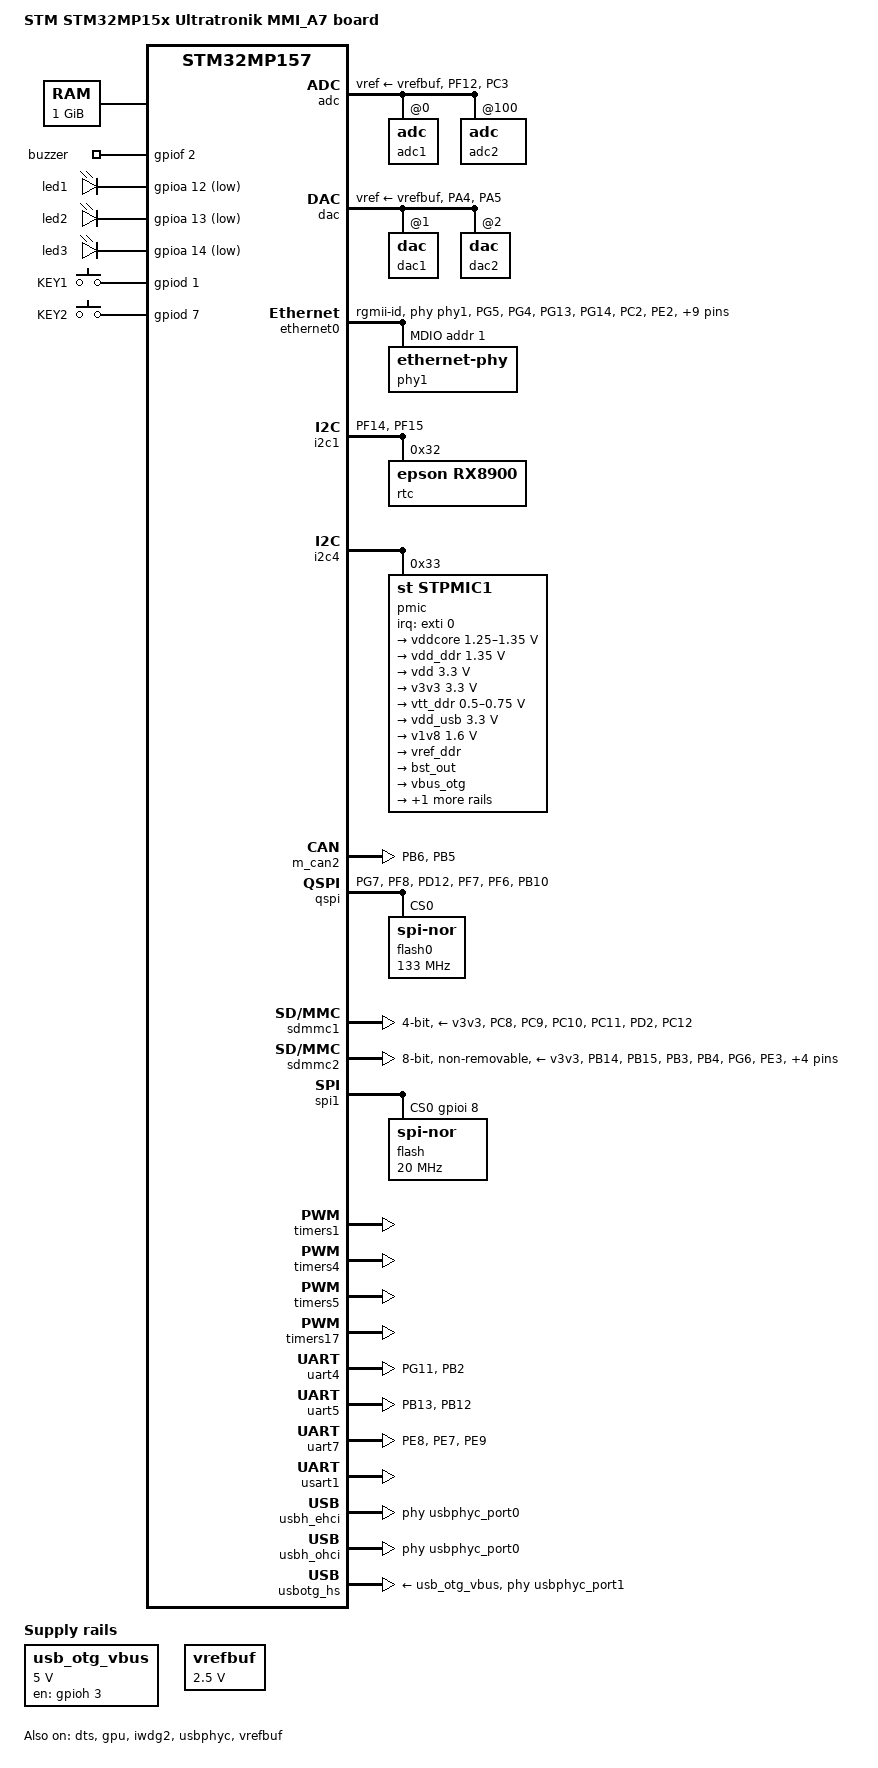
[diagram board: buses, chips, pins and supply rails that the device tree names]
// SPDX-License-Identifier: (GPL-2.0+ OR BSD-3-Clause)
/*
 * Copyright (C) Ultratronik GmbH 2024-2025 - All Rights Reserved
 */

/dts-v1/;
#include "stm32mp157.dtsi"
#include "stm32mp15xc.dtsi"
#include "stm32mp15-pinctrl.dtsi"
#include "stm32mp15xxac-pinctrl.dtsi"
#include <dt-bindings/pinctrl/stm32-pinfunc.h>
#include <dt-bindings/mfd/st,stpmic1.h>
#include <dt-bindings/gpio/gpio.h>

/ {
	model = "STM STM32MP15x Ultratronik MMI_A7 board";
	compatible = "ultratronik,stm32mp157c-ultra-fly-sbc", "st,stm32mp157";

	aliases {
		ethernet0 = &ethernet0;
		serial0 = &uart4;
		serial1 = &uart5;
		serial2 = &uart7;
		serial3 = &usart1;
	};

	chosen {
		stdout-path = "serial0:115200n8";
	};

	memory@c0000000 {
		device_type = "memory";
		reg = <0xC0000000 0x40000000>;
	};

	usb_otg_vbus: regulator-0 {
		compatible = "regulator-fixed";
		regulator-name = "usb_otg_vbus";
		regulator-min-microvolt = <5000000>;
		regulator-max-microvolt = <5000000>;
		gpio = <&gpioh 3 GPIO_ACTIVE_HIGH>;
		enable-active-high;
	};

	reserved-memory {
		#address-cells = <1>;
		#size-cells = <1>;
		ranges;

		retram: retram@38000000 {
			compatible = "shared-dma-pool";
			reg = <0x38000000 0x10000>;
			no-map;
		};

		mcuram: mcuram@30000000 {
			compatible = "shared-dma-pool";
			reg = <0x30000000 0x40000>;
			no-map;
		};

		mcuram2: mcuram2@10000000 {
			compatible = "shared-dma-pool";
			reg = <0x10000000 0x40000>;
			no-map;
		};

		vdev0vring0: vdev0vring0@10040000 {
			compatible = "shared-dma-pool";
			reg = <0x10040000 0x2000>;
			no-map;
		};

		vdev0vring1: vdev0vring1@10042000 {
			compatible = "shared-dma-pool";
			reg = <0x10042000 0x2000>;
			no-map;
		};

		vdev0buffer: vdev0buffer@10044000 {
			compatible = "shared-dma-pool";
			reg = <0x10044000 0x4000>;
			no-map;
		};

		gpu_reserved: gpu@f8000000 {
			reg = <0xf8000000 0x8000000>;
			no-map;
		};
	};

	leds: leds {
		compatible = "gpio-leds";

		led0 {
			label = "buzzer";
			gpios = <&gpiof 2 GPIO_ACTIVE_HIGH>;
			default-state = "off";
			linux,default-trigger = "none";
		};

		led1 {
			label = "led1";
			gpios = <&gpioa 12 GPIO_ACTIVE_LOW>;
			default-state = "off";
		};

		led2 {
			label = "led2";
			gpios = <&gpioa 13 GPIO_ACTIVE_LOW>;
			default-state = "off";
		};

		led3 {
			label = "led3";
			gpios = <&gpioa 14 GPIO_ACTIVE_LOW>;
			default-state = "off";
		};
	};

	gpio_keys: gpio-keys {
		compatible = "gpio-keys";

		key-1 {
			label = "KEY1";
			gpios = <&gpiod 1 GPIO_ACTIVE_HIGH>;
			wakeup-source;
			linux,code = <2>;
		};

		key-2 {
			label = "KEY2";
			gpios = <&gpiod 7 GPIO_ACTIVE_HIGH>;
			wakeup-source;
			linux,code = <3>;
		};
	};
};

&adc {
	pinctrl-names = "default";
	pinctrl-0 = <&adc1_ux_ain_pins_a>;
	vdd-supply = <&vdd>;
	vdda-supply = <&vdd>;
	vref-supply = <&vrefbuf>;
	status = "okay";

	adc1: adc@0 {
		st,min-sample-time-nsecs = <5000>;
		st,adc-channels = <0 1 6 13>; /* ANA0 ANA1 PF12 PC3 */
		status = "okay";
	};

	adc2: adc@100 {
		st,adc-channels = <0 1 12>; /* ANA0 ANA1 INT_TEMP*/
		st,min-sample-time-nsecs = <10000>;
		status = "okay";

		channel@12 {
			reg = <12>;  /* Channel 12 = internal temperature sensor */
			label = "internal_temp";
		};
	};
};

&dac {
	pinctrl-names = "default";
	pinctrl-0 = <&dac_ux_ch1_pins_a &dac_ux_ch2_pins_a>;
	vref-supply = <&vrefbuf>;
	status = "okay";

	dac1: dac@1 {
		status = "okay";
	};

	dac2: dac@2 {
		status = "okay";
	};
};

&dts {
	compatible = "st,stm32-thermal";
	status = "okay";
};

&ethernet0 {
	status = "okay";
	pinctrl-0 = <&ethernet0_ux_rgmii_pins_a>;
	pinctrl-1 = <&ethernet0_ux_rgmii_pins_sleep_a>;
	pinctrl-names = "default", "sleep";
	phy-mode = "rgmii-id";
	phy-handle = <&phy1>;

	mdio {
		#address-cells = <1>;
		#size-cells = <0>;
		compatible = "snps,dwmac-mdio";
		phy1: ethernet-phy@1 {
			reg = <1>;
		};
	};
};

&gpioa {
	gpio-line-names =
	"#PMIC_IRQ", "", "", "", "DAC1", "DAC2", "", "",
	"", "", "OTG_ID", "TIM1_4", "#LED1", "#LED2", "#LED3", "";
};

&gpiob {
	gpio-line-names =
	"", "", "", "", "", "", "", "",
	"", "", "", "", "", "", "", "";
};

&gpioc {
	gpio-line-names =
	"#AMP_SD", "", "", "ANA5", "", "", "", "",
	"", "", "", "", "", "PMIC_WAKEUP", "", "";
};

&gpiod {
	gpio-line-names =
	"#G_INT", "#TASTER1", "", "", "GPIO1", "GPIO2", "", "#TASTER2",
	"", "", "", "", "", "", "TIM4_3", "TIM4_4";
};

&gpioe {
	gpio-line-names =
	"", "", "", "", "", "", "", "",
	"", "", "PWM2", "", "", "", "", "";
};

&gpiof {
	gpio-line-names =
	"#SD1_CD", "SD1_WP", "BUZZER", "#DISP_POW", "BKL_POW", "#CAM_RES", "", "",
	"", "TIM17_1N", "", "CAM_PWDN", "ANA6", "ENA_USB", "", "";
};

&gpiog {
	gpio-line-names =
	"#ESP_RES", "#ESP_BOOT", "GPIO3", "GPIO4", "", "", "", "",
	"", "#TOUCH_IRQ", "", "", "", "", "", "#PCAP_RES";
};

&gpioh {
	gpio-line-names =
	"", "CAM_LED", "", "USB_OTG_PWR", "", "USB_OTG_OC", "", "",
	"", "", "", "", "", "", "", "";
};

&gpioi {
	gpio-line-names =
	"BKL_PWM", "", "", "", "", "", "", "",
	"#SPI_CS0", "", "", "#SPI_CS1", "", "", "", "";
};

&gpioj {
	gpio-line-names =
	"", "", "", "", "", "", "", "",
	"", "", "", "", "", "", "", "";
};

&gpiok {
	gpio-line-names =
	"", "", "", "", "", "", "", "",
	"", "", "", "", "", "", "", "";
};

&gpioz {
	gpio-line-names =
	"", "", "", "#SPI_CS2", "", "", "", "",
	"", "", "", "", "", "", "", "";
};

&gpu {
	status = "okay";
};

&i2c1 {
	pinctrl-names = "default", "sleep";
	pinctrl-0 = <&i2c1_ux_pins_a>;
	pinctrl-1 = <&i2c1_ux_pins_sleep_a>;
	i2c-scl-rising-time-ns = <100>;
	i2c-scl-falling-time-ns = <7>;
	status = "okay";
	/delete-property/dmas;
	/delete-property/dma-names;

	rtc@32 {
		compatible = "epson,rx8900";
		reg = <0x32>;
		epson,vdet-disable;
		trickle-diode-disable;
	};
};

&i2c4 {
	pinctrl-names = "default", "sleep";
	pinctrl-0 = <&i2c4_ux_pins_a>;
	pinctrl-1 = <&i2c4_ux_pins_sleep_a>;
	i2c-scl-rising-time-ns = <185>;
	i2c-scl-falling-time-ns = <20>;
	status = "okay";
	/delete-property/dmas;
	/delete-property/dma-names;

	pmic: pmic@33 {
		compatible = "st,stpmic1";
		reg = <0x33>;
		interrupts-extended = <&exti 0 IRQ_TYPE_EDGE_FALLING>;
		interrupt-controller;
		#interrupt-cells = <2>;

		regulators {
			compatible = "st,stpmic1-regulators";

			ldo1-supply = <&v3v3>;
			ldo3-supply = <&vdd_ddr>;
			ldo6-supply = <&v3v3>;
			pwr_sw1-supply = <&bst_out>;
			pwr_sw2-supply = <&bst_out>;

			vddcore: buck1 {
				regulator-name = "vddcore";
				regulator-min-microvolt = <1250000>;
				regulator-max-microvolt = <1350000>;
				regulator-always-on;
				regulator-initial-mode = <0>;
				regulator-over-current-protection;
			};

			vdd_ddr: buck2 {
				regulator-name = "vdd_ddr";
				regulator-min-microvolt = <1350000>;
				regulator-max-microvolt = <1350000>;
				regulator-always-on;
				regulator-initial-mode = <0>;
				regulator-over-current-protection;
			};

			vdd: buck3 {
				regulator-name = "vdd";
				regulator-min-microvolt = <3300000>;
				regulator-max-microvolt = <3300000>;
				regulator-always-on;
				st,mask-reset;
				regulator-initial-mode = <0>;
				regulator-over-current-protection;
			};

			v3v3: buck4 {
				regulator-name = "v3v3";
				regulator-min-microvolt = <3300000>;
				regulator-max-microvolt = <3300000>;
				regulator-always-on;
				regulator-over-current-protection;
				regulator-initial-mode = <0>;
			};

			vtt_ddr: ldo3 {
				regulator-name = "vtt_ddr";
				regulator-min-microvolt = <500000>;
				regulator-max-microvolt = <750000>;
				regulator-always-on;
				regulator-over-current-protection;
			};

			vdd_usb: ldo4 {
				regulator-name = "vdd_usb";
				regulator-min-microvolt = <3300000>;
				regulator-max-microvolt = <3300000>;
				regulator-always-on;
				interrupts = <IT_CURLIM_LDO4 0>;
			};

			v1v8: ldo6 {
				regulator-name = "v1v8";
				regulator-min-microvolt = <1600000>;/* offset +200 mv ??? */
				regulator-max-microvolt = <1600000>;/* real 1800000 */
				regulator-always-on;
				interrupts = <IT_CURLIM_LDO6 0>;
			};

			vref_ddr: vref_ddr {
				regulator-name = "vref_ddr";
				regulator-always-on;
			};

			bst_out: boost {
				regulator-name = "bst_out";
				interrupts = <IT_OCP_BOOST 0>;
			};

			vbus_otg: pwr_sw1 {
				regulator-name = "vbus_otg";
				interrupts = <IT_OCP_OTG 0>;
				regulator-active-discharge = <1>;
			 };

			 vbus_sw: pwr_sw2 {
				regulator-name = "vbus_sw";
				interrupts = <IT_OCP_SWOUT 0>;
				regulator-active-discharge = <1>;
			 };
		};
	};
};

&iwdg2 {
	timeout-sec = <32>;
	status = "okay";
};

&m_can2 {
	pinctrl-names = "default", "sleep";
	pinctrl-0 = <&m_can2_ux_pins_a>;
	pinctrl-1 = <&m_can2_ux_sleep_pins_a>;
	status = "okay";
};

&pinctrl {

	adc1_ux_ain_pins_a: adc1-ux-ain-0 {
		pins {
			pinmux = <STM32_PINMUX('F',12, ANALOG)>, /* ADC1 in6 */
				 <STM32_PINMUX('C', 3, ANALOG)>; /* ADC2 in13 */
		};
	};

	dac_ux_ch1_pins_a: dac-ux-ch1-0 {
		pins {
			pinmux = <STM32_PINMUX('A', 4, ANALOG)>;
		};
	};

	dac_ux_ch2_pins_a: dac-ux-ch2-0 {
		pins {
			pinmux = <STM32_PINMUX('A', 5, ANALOG)>;
		};
	};

	ethernet0_ux_rgmii_pins_a: rgmii-ux-0 {
		pins1 {
			pinmux = <STM32_PINMUX('G', 5, AF11)>, /* ETH_RGMII_CLK125 */
				 <STM32_PINMUX('G', 4, AF11)>, /* ETH_RGMII_GTX_CLK */
				 <STM32_PINMUX('G', 13, AF11)>, /* ETH_RGMII_TXD0 */
				 <STM32_PINMUX('G', 14, AF11)>, /* ETH_RGMII_TXD1 */
				 <STM32_PINMUX('C', 2, AF11)>, /* ETH_RGMII_TXD2 */
				 <STM32_PINMUX('E', 2, AF11)>, /* ETH_RGMII_TXD3 */
				 <STM32_PINMUX('B', 11, AF11)>; /* ETH_RGMII_TX_CTL */
			bias-disable;
			drive-push-pull;
			slew-rate = <2>;
		};
		pins2 {
			pinmux = <STM32_PINMUX('C', 4, AF11)>, /* ETH_RGMII_RXD0 */
				 <STM32_PINMUX('C', 5, AF11)>, /* ETH_RGMII_RXD1 */
				 <STM32_PINMUX('B', 0, AF11)>, /* ETH_RGMII_RXD2 */
				 <STM32_PINMUX('H', 7, AF11)>, /* ETH_RGMII_RXD3 */
				 <STM32_PINMUX('A', 1, AF11)>, /* ETH_RGMII_RX_CLK */
				 <STM32_PINMUX('A', 7, AF11)>; /* ETH_RGMII_RX_CTL */
			bias-disable;
		};
		pins3 {
			pinmux = <STM32_PINMUX('C', 1, AF11)>; /* ETH_MDC */
			bias-disable;
			drive-push-pull;
			slew-rate = <0>;
		};
		pins4 {
			pinmux = <STM32_PINMUX('A', 2, AF11)>; /* ETH_MDIO */
			bias-disable;
			drive-open-drain;
			slew-rate = <0>;
		};
	};

	ethernet0_ux_rgmii_pins_sleep_a: rgmii-ux-sleep-0 {
		pins1 {
			pinmux = <STM32_PINMUX('G', 5, ANALOG)>, /* ETH_RGMII_CLK125 */
				 <STM32_PINMUX('G', 4, ANALOG)>, /* ETH_RGMII_GTX_CLK */
				 <STM32_PINMUX('G', 13, ANALOG)>, /* ETH_RGMII_TXD0 */
				 <STM32_PINMUX('G', 14, ANALOG)>, /* ETH_RGMII_TXD1 */
				 <STM32_PINMUX('C', 2, ANALOG)>, /* ETH_RGMII_TXD2 */
				 <STM32_PINMUX('E', 2, ANALOG)>, /* ETH_RGMII_TXD3 */
				 <STM32_PINMUX('B', 11, ANALOG)>, /* ETH_RGMII_TX_CTL */
				 <STM32_PINMUX('A', 2, ANALOG)>, /* ETH_MDIO */
				 <STM32_PINMUX('C', 1, ANALOG)>, /* ETH_MDC */
				 <STM32_PINMUX('C', 4, ANALOG)>, /* ETH_RGMII_RXD0 */
				 <STM32_PINMUX('C', 5, ANALOG)>, /* ETH_RGMII_RXD1 */
				 <STM32_PINMUX('B', 0, ANALOG)>, /* ETH_RGMII_RXD2 */
				 <STM32_PINMUX('B', 1, ANALOG)>, /* ETH_RGMII_RXD3 */
				 <STM32_PINMUX('A', 1, ANALOG)>, /* ETH_RGMII_RX_CLK */
				 <STM32_PINMUX('A', 7, ANALOG)>; /* ETH_RGMII_RX_CTL */
		};
	};

	i2c1_ux_pins_a: i2c1-0 {
		pins {
			pinmux = <STM32_PINMUX('F', 14, AF5)>, /* I2C1_SCL */
				 <STM32_PINMUX('F', 15, AF5)>; /* I2C1_SDA */
			bias-disable;
			drive-open-drain;
			slew-rate = <0>;
		};
	};

	i2c1_ux_pins_sleep_a: i2c1-1 {
		pins {
			pinmux = <STM32_PINMUX('F', 14, ANALOG)>, /* I2C1_SCL */
				 <STM32_PINMUX('F', 15, ANALOG)>; /* I2C1_SDA */
		};
	};

	m_can2_ux_pins_a: m-can2-ux-0 {
		pins1 {
			pinmux = <STM32_PINMUX('B', 6, AF9)>; /* CAN1_TX */
			slew-rate = <0>;
			drive-push-pull;
			bias-disable;
		};

		pins2 {
			pinmux = <STM32_PINMUX('B', 5, AF9)>; /* CAN1_RX */
			bias-disable;
		};
	};

	m_can2_ux_sleep_pins_a: m-can2-ux-sleep-0 {
		pins {
			pinmux = <STM32_PINMUX('B', 6, ANALOG)>, /* CAN1_TX */
				 <STM32_PINMUX('B', 5, ANALOG)>; /* CAN1_RX */
		};
	};
	pwm1_ux_pins_a: pwm1-0 {
		pins {
			pinmux = <STM32_PINMUX('A',11, AF1)>, /* TIM1_CH4 */
				 <STM32_PINMUX('E',10, AF1)>; /* TIM1_CH2N */
			bias-pull-down;
			drive-push-pull;
			slew-rate = <0>;
		};
	};

	pwm1_ux_sleep_pins_a: pwm1-sleep-0 {
		pins {
			pinmux = <STM32_PINMUX('A',11, ANALOG)>, /* TIM1_CH4 */
				 <STM32_PINMUX('E',10, ANALOG)>; /* TIM1_CH2N */
		};
	};

	pwm4_ux_pins_a: pwm4-0 {
		pins {
			pinmux = <STM32_PINMUX('D', 14, AF2)>, /* TIM4_CH3 */
				 <STM32_PINMUX('D', 15, AF2)>; /* TIM4_CH4 */
			bias-disable;
		};
	};

	pwm4_ux_sleep_pins_a: pwm4-sleep-0 {
		pins {
			pinmux = <STM32_PINMUX('D', 14, ANALOG)>, /* TIM4_CH3 */
				 <STM32_PINMUX('D', 15, ANALOG)>; /* TIM4_CH4 */
		};
	};

	pwm5_ux_pins_a: pwm5-0 {
		pins {
			pinmux = <STM32_PINMUX('I', 0, AF2)>; /* TIM5_CH4 */
			bias-pull-down;
			drive-push-pull;
			slew-rate = <0>;
		};
	};

	pwm5_ux_sleep_pins_a: pwm5-sleep-0 {
		pins {
			pinmux = <STM32_PINMUX('I', 0, ANALOG)>; /* TIM5_CH4 */
		};
	};

	pwm17_ux_pins_a: pwm17-0 {
		pins {
			pinmux = <STM32_PINMUX('F', 9, AF1)>; /* TIM17_CH1N */
			bias-pull-down;
			drive-push-pull;
			slew-rate = <0>;
		};
	};

	pwm17_ux_sleep_pins_a: pwm17-sleep-0 {
		pins {
			pinmux = <STM32_PINMUX('F', 9, ANALOG)>; /* TIM17_CH1N */
		};
	};

	qspi_bk1_ux_pins_a: qspi-bk1-ux-0 {
		pins1 {
			pinmux = <STM32_PINMUX('F', 8, AF10)>, /* QSPI_BK1_IO0 */
				 <STM32_PINMUX('D',12, AF9)>, /* QSPI_BK1_IO1 */
				 <STM32_PINMUX('F', 7, AF9)>, /* QSPI_BK1_IO2 */
				 <STM32_PINMUX('F', 6, AF9)>; /* QSPI_BK1_IO3 */
			bias-disable;
			drive-push-pull;
			slew-rate = <1>;
		};

		pins2 {
			pinmux = <STM32_PINMUX('B',10, AF9)>; /* QSPI_BK1_NCS */
			bias-pull-up;
			drive-push-pull;
			slew-rate = <1>;
		};
	};

	qspi_bk1_ux_sleep_pins_a: qspi-bk1-ux-sleep-0 {
		pins {
			pinmux = <STM32_PINMUX('F', 8, ANALOG)>, /* QSPI_BK1_IO0 */
				 <STM32_PINMUX('D',12, ANALOG)>, /* QSPI_BK1_IO1 */
				 <STM32_PINMUX('F', 7, ANALOG)>, /* QSPI_BK1_IO2 */
				 <STM32_PINMUX('F', 6, ANALOG)>, /* QSPI_BK1_IO3 */
				 <STM32_PINMUX('B',10, ANALOG)>; /* QSPI_BK1_NCS */
		};
	};

	qspi_clk_ux_pins_a: qspi-clk_ux-0 {
		pins {
			pinmux = <STM32_PINMUX('G', 7, AF9)>; /* QSPI_CLK */
			bias-disable;
			drive-push-pull;
			slew-rate = <3>;
		};
	};

	qspi_clk_ux_sleep_pins_a: qspi-clk-ux-sleep-0 {
		pins {
			pinmux = <STM32_PINMUX('G', 7, ANALOG)>; /* QSPI_CLK */
		};
	};

	sai2a_ux_pins_a: sai2a-0 {
		pins {
			pinmux = <STM32_PINMUX('I', 5, AF10)>, /* SAI2_SCK_A */
				 <STM32_PINMUX('D',11, AF10)>, /* SAI2_SD_A */
				 <STM32_PINMUX('I', 7, AF10)>, /* SAI2_FS_A */
				 <STM32_PINMUX('E', 0, AF10)>; /* SAI2_MCLK_A */
			slew-rate = <0>;
			drive-push-pull;
			bias-disable;
		};
	};

	sai2a_ux_sleep_pins_a: sai2a-1 {
		pins {
			pinmux = <STM32_PINMUX('I', 5, ANALOG)>, /* SAI2_SCK_A */
				 <STM32_PINMUX('D',11, ANALOG)>, /* SAI2_SD_A */
				 <STM32_PINMUX('I', 7, ANALOG)>, /* SAI2_FS_A */
				 <STM32_PINMUX('E', 0, ANALOG)>; /* SAI2_MCLK_A */
		};
	};

	sdmmc1_ux_b4_pins_a: sdmmc1-ux-b4-0 {
		pins1 {
			pinmux = <STM32_PINMUX('C', 8, AF12)>, /* SDMMC1_D0 */
				 <STM32_PINMUX('C', 9, AF12)>, /* SDMMC1_D1 */
				 <STM32_PINMUX('C',10, AF12)>, /* SDMMC1_D2 */
				 <STM32_PINMUX('C',11, AF12)>, /* SDMMC1_D3 */
				 <STM32_PINMUX('D', 2, AF12)>; /* SDMMC1_CMD */
			slew-rate = <1>;
			drive-push-pull;
			bias-disable;
		};
		pins2 {
			pinmux = <STM32_PINMUX('C', 12, AF12)>; /* SDMMC1_CK */
			slew-rate = <2>;
			drive-push-pull;
			bias-disable;
		};
	};

	sdmmc1_ux_b4_od_pins_a: sdmmc1-b4-od-0 {
		pins1 {
			pinmux = <STM32_PINMUX('C', 8, AF12)>, /* SDMMC1_D0 */
				 <STM32_PINMUX('C', 9, AF12)>, /* SDMMC1_D1 */
				 <STM32_PINMUX('C', 10, AF12)>, /* SDMMC1_D2 */
				 <STM32_PINMUX('C', 11, AF12)>; /* SDMMC1_D3 */
			slew-rate = <1>;
			drive-push-pull;
			bias-disable;
		};
		pins2 {
			pinmux = <STM32_PINMUX('C', 12, AF12)>; /* SDMMC1_CK */
			slew-rate = <2>;
			drive-push-pull;
			bias-disable;
		};
		pins3 {
			pinmux = <STM32_PINMUX('D', 2, AF12)>; /* SDMMC1_CMD */
			slew-rate = <1>;
			drive-open-drain;
			bias-disable;
		};
	};

	sdmmc1_ux_b4_sleep_pins_a: sdmmc1-b4-sleep-0 {
		pins {
			pinmux = <STM32_PINMUX('C', 8, ANALOG)>, /* SDMMC1_D0 */
				 <STM32_PINMUX('C', 9, ANALOG)>, /* SDMMC1_D1 */
				 <STM32_PINMUX('C', 10, ANALOG)>, /* SDMMC1_D2 */
				 <STM32_PINMUX('C', 11, ANALOG)>, /* SDMMC1_D3 */
				 <STM32_PINMUX('C', 12, ANALOG)>, /* SDMMC1_CK */
				 <STM32_PINMUX('D', 2, ANALOG)>; /* SDMMC1_CMD */
		};
	};

	sdmmc2_ux_b4_pins_a: sdmmc2-ux-b4-0 {
		pins1 {
			pinmux = <STM32_PINMUX('B', 14, AF9)>, /* SDMMC2_D0 */
				<STM32_PINMUX('B', 15, AF9)>, /* SDMMC2_D1 */
				<STM32_PINMUX('B', 3, AF9)>, /* SDMMC2_D2 */
				<STM32_PINMUX('B', 4, AF9)>, /* SDMMC2_D3 */
				<STM32_PINMUX('G', 6, AF10)>; /* SDMMC2_CMD */
			slew-rate = <1>;
			drive-push-pull;
			bias-pull-up;
		};
		pins2 {
			pinmux = <STM32_PINMUX('E', 3, AF9)>; /* SDMMC2_CK */
			slew-rate = <2>;
			drive-push-pull;
			bias-pull-up;
		};
	};

	sdmmc2_ux_b4_od_pins_a: sdmmc2-ux-b4-od-0 {
		pins1 {
			pinmux = <STM32_PINMUX('B', 14, AF9)>, /* SDMMC2_D0 */
				<STM32_PINMUX('B', 15, AF9)>, /* SDMMC2_D1 */
				<STM32_PINMUX('B', 3, AF9)>, /* SDMMC2_D2 */
				<STM32_PINMUX('B', 4, AF9)>; /* SDMMC2_D3 */
			slew-rate = <1>;
			drive-push-pull;
			bias-pull-up;
		};
		pins2 {
			pinmux = <STM32_PINMUX('E', 3, AF9)>; /* SDMMC2_CK */
			slew-rate = <2>;
			drive-push-pull;
			bias-pull-up;
		};
		pins3 {
			pinmux = <STM32_PINMUX('G', 6, AF10)>; /* SDMMC2_CMD */
			slew-rate = <1>;
			drive-open-drain;
			bias-pull-up;
		};
	};

	sdmmc2_ux_b4_sleep_pins_a: sdmmc2-ux-b4-sleep-0 {
		pins {
			pinmux = <STM32_PINMUX('B', 14, ANALOG)>, /* SDMMC2_D0 */
				<STM32_PINMUX('B', 15, ANALOG)>, /* SDMMC2_D1 */
				<STM32_PINMUX('B', 3, ANALOG)>, /* SDMMC2_D2 */
				<STM32_PINMUX('B', 4, ANALOG)>, /* SDMMC2_D3 */
				<STM32_PINMUX('E', 3, ANALOG)>, /* SDMMC2_CK */
				<STM32_PINMUX('G', 6, ANALOG)>; /* SDMMC2_CMD */
		};
	};

	sdmmc2_ux_d47_pins_a: sdmmc2-ux-d47-0 {
		pins {
			pinmux = <STM32_PINMUX('A', 8, AF9)>, /* SDMMC2_D4 */
				<STM32_PINMUX('A', 9, AF10)>, /* SDMMC2_D5 */
				<STM32_PINMUX('E', 5, AF9)>, /* SDMMC2_D6 */
				<STM32_PINMUX('D', 3, AF9)>; /* SDMMC2_D7 */
			slew-rate = <1>;
			drive-push-pull;
			bias-pull-up;
		};
	};

	sdmmc2_ux_d47_sleep_pins_a: sdmmc2-ux-d47-sleep-0 {
		pins {
			pinmux = <STM32_PINMUX('A', 8, ANALOG)>, /* SDMMC2_D4 */
				<STM32_PINMUX('A', 9, ANALOG)>, /* SDMMC2_D5 */
				<STM32_PINMUX('E', 5, ANALOG)>, /* SDMMC2_D6 */
				<STM32_PINMUX('D', 3, ANALOG)>; /* SDMMC2_D7 */
		};
	};

	uart4_ux_pins_a: uart4-ux-0 {
		pins1 {
			pinmux = <STM32_PINMUX('G', 11, AF6)>; /* UART4_TX */
			bias-disable;
			drive-push-pull;
			slew-rate = <0>;
		};
		pins2 {
			pinmux = <STM32_PINMUX('B', 2, AF8)>; /* UART4_RX */
			bias-disable;
		};
	};

	uart4_ux_idle_pins_a: uart4-ux-idle-0 {
		pins1 {
			pinmux = <STM32_PINMUX('G', 11, ANALOG)>; /* UART4_TX */
		};
		pins2 {
			pinmux = <STM32_PINMUX('B', 2, AF8)>; /* UART4_RX */
			bias-disable;
		};
		};

	uart4_ux_sleep_pins_a: uart4-ux-sleep-0 {
		pins {
			pinmux = <STM32_PINMUX('G', 11, ANALOG)>, /* UART4_TX */
				<STM32_PINMUX('B', 2, ANALOG)>; /* UART4_RX */
		};
	};

	uart5_ux_pins_a: uart5-0 {
		pins1 {
			pinmux = <STM32_PINMUX('B', 13, AF14)>; /* UART5_TX */
			bias-disable;
			drive-push-pull;
			slew-rate = <0>;
		};
		pins2 {
			pinmux = <STM32_PINMUX('B', 12, AF14)>; /* UART5_RX */
			bias-disable;
		};
	};

	uart5_ux_idle_pins_a: uart5-idle-0 {
		pins1 {
			pinmux = <STM32_PINMUX('B', 13, ANALOG)>; /* UART5_TX */
		};
		pins2 {
			pinmux = <STM32_PINMUX('B', 12, AF14)>; /* UART5_RX*/
			bias-disable;
		};
	};

	uart5_ux_sleep_pins_a: uart5-sleep-0 {
		pins {
			pinmux = <STM32_PINMUX('B', 13, ANALOG)>, /* UART5_TX */
				 <STM32_PINMUX('B', 12, ANALOG)>; /* UART5_RX */
		};
	};

	uart7_ux_pins_a: uart7-0 {
		pins1 {
			pinmux = <STM32_PINMUX('E', 8, AF7)>; /* USART7_TX */
			bias-pull-up;
			drive-push-pull;
			slew-rate = <0>;
		};

		pins2 {
			pinmux = <STM32_PINMUX('E', 7, AF7)>; /* USART7_RX */
			bias-pull-up;
		};
		pins3 {
			pinmux = <STM32_PINMUX('E', 9, AF7)>; /* USART7_RTS/DE */
		};
	};

	uart7_ux_idle_pins_a: uart7-idle-0 {
		pins1 {
			pinmux = <STM32_PINMUX('E', 8, ANALOG)>, /* USART7_TX */
				 <STM32_PINMUX('E', 9, AF7)>; /* USART7_RTS/DE */
		};
		pins2 {
			pinmux = <STM32_PINMUX('E', 7, AF7)>; /* USART7_RX */
			bias-disable;
		};
	};

	uart7_ux_sleep_pins_a: uart7-sleep-0 {
		pins {
			pinmux = <STM32_PINMUX('E', 8, ANALOG)>, /* USART7_TX */
				 <STM32_PINMUX('E', 9, AF7)>, /* USART7_RTS/DE */
				 <STM32_PINMUX('E', 7, ANALOG)>; /* USART7_RX */
		};
	};
};

&pinctrl_z {

	i2c4_ux_pins_a: i2c4-ux-0 {
		pins {
			pinmux = <STM32_PINMUX('Z', 4, AF6)>, /* I2C4_SCL */
				<STM32_PINMUX('Z', 5, AF6)>; /* I2C4_SDA */
			bias-disable;
			drive-open-drain;
			slew-rate = <0>;
		};
	};

	i2c4_ux_pins_sleep_a: i2c4-1 {
		pins {
			pinmux = <STM32_PINMUX('Z', 4, ANALOG)>, /* I2C4_SCL */
				<STM32_PINMUX('Z', 5, ANALOG)>; /* I2C4_SDA */
		};
	};

	spi1_ux_pins_a: spi1-ux-0 {
		pins1 {
			pinmux = <STM32_PINMUX('Z', 0, AF5)>, /* SPI1_SCK */
				<STM32_PINMUX('Z', 2, AF5)>; /* SPI1_MOSI */
			bias-disable;
			drive-push-pull;
			slew-rate = <1>;
		};

		pins2 {
			pinmux = <STM32_PINMUX('Z', 1, AF5)>; /* SPI1_MISO */
			bias-disable;
		};
	};

	spi1_ux_sleep_pins_a: spi1-ux-sleep-0 {
		pins {
			pinmux = <STM32_PINMUX('Z', 0, ANALOG)>, /* SPI1_SCK */
				<STM32_PINMUX('Z', 1, ANALOG)>, /* SPI1_MISO */
				<STM32_PINMUX('Z', 2, ANALOG)>; /* SPI1_MOSI */
		};
	};
};

&pwr_regulators {
	vdd-supply = <&vdd>;
	vdd_3v3_usbfs-supply = <&vdd_usb>;
};

&qspi {
	pinctrl-names = "default", "sleep";
	pinctrl-0 = <&qspi_clk_ux_pins_a &qspi_bk1_ux_pins_a>;
	pinctrl-1 = <&qspi_clk_ux_sleep_pins_a &qspi_bk1_ux_sleep_pins_a>;
	reg = <0x58003000 0x1000>, <0x70000000 0x1000000>;
	#address-cells = <1>;
	#size-cells = <0>;
	status = "okay";

	flash0: flash@0 {
		compatible = "jedec,spi-nor";
		reg = <0>;
		spi-rx-bus-width = <4>;
		spi-max-frequency = <133000000>;
		#address-cells = <1>;
		#size-cells = <1>;
	};
};

&sdmmc1 {
	pinctrl-names = "default", "opendrain", "sleep";
	pinctrl-0 = <&sdmmc1_ux_b4_pins_a>;
	pinctrl-1 = <&sdmmc1_ux_b4_od_pins_a>;
	pinctrl-2 = <&sdmmc1_ux_b4_sleep_pins_a>;
	broken-cd;
	st,neg-edge;
	bus-width = <4>;
	vmmc-supply = <&v3v3>;
	no-1-8-v;
	status = "okay";
};

&sdmmc2 {
	pinctrl-names = "default", "opendrain", "sleep";
	pinctrl-0 = <&sdmmc2_ux_b4_pins_a &sdmmc2_ux_d47_pins_a>;
	pinctrl-1 = <&sdmmc2_ux_b4_od_pins_a &sdmmc2_ux_d47_pins_a>;
	pinctrl-2 = <&sdmmc2_ux_b4_sleep_pins_a &sdmmc2_ux_d47_sleep_pins_a>;
	non-removable;
	no-sd;
	no-sdio;
	st,neg-edge;
	bus-width = <8>;
	vmmc-supply = <&v3v3>;
	vqmmc-supply = <&v3v3>;
	mmc-ddr-3_3v;
	status = "okay";
};

&spi1 {
	pinctrl-names = "default", "sleep";
	pinctrl-0 = <&spi1_ux_pins_a>;
	pinctrl-1 = <&spi1_ux_sleep_pins_a>;
	status = "okay";
	cs-gpios = <&gpioi 8 0>, <&gpioi 11 0>, <&gpioz 3 0>;

	flash: flash@0 {
		#address-cells = <1>;
		#size-cells = <1>;
		compatible = "jedec,spi-nor";
		spi-max-frequency = <20000000>;
		reg = <0>;
	};
};

&timers1 {
	/* spare dmas for other usage */
	/delete-property/dmas;
	/delete-property/dma-names;
	status = "okay";

	pwm {
		pinctrl-0 = <&pwm1_ux_pins_a>;
		pinctrl-1 = <&pwm1_ux_sleep_pins_a>;
		pinctrl-names = "default", "sleep";
		status = "okay";
	};

	timer@0 {
		status = "okay";
	};
};

&timers4 {
	dmas = <&dmamux1 31 0x400 0x5>;
	dma-names = "ch3";
	status = "okay";

	pwm4_4: pwm {
		pinctrl-0 = <&pwm4_ux_pins_a>;
		pinctrl-1 = <&pwm4_ux_sleep_pins_a>;
		pinctrl-names = "default", "sleep";
		status = "okay";
	};
};

&timers5 {
	/delete-property/dmas;
	/delete-property/dma-names;
	status = "okay";

	pwm5_4: pwm {
		pinctrl-0 = <&pwm5_ux_pins_a>;
		pinctrl-1 = <&pwm5_ux_sleep_pins_a>;
		pinctrl-names = "default", "sleep";
		status = "okay";
	};

	timer@4 {
		status = "okay";
	};
};

&timers17 {
	/delete-property/dmas;
	/delete-property/dma-names;
	status = "okay";

	pwm17_4: pwm {
		pinctrl-0 = <&pwm17_ux_pins_a>;
		pinctrl-1 = <&pwm17_ux_sleep_pins_a>;
		pinctrl-names = "default", "sleep";
		status = "okay";
	};

	timer@16 {
		status = "okay";
	};
};

&uart4 {
	/delete-property/dmas;
	/delete-property/dma-names;
	pinctrl-names = "default", "sleep", "idle", "no_console_suspend";
	pinctrl-0 = <&uart4_ux_pins_a>;
	pinctrl-1 = <&uart4_ux_sleep_pins_a>;
	pinctrl-2 = <&uart4_ux_idle_pins_a>;
	pinctrl-3 = <&uart4_ux_pins_a>;
	status = "okay";
};

&uart5 {
	pinctrl-names = "default", "sleep", "idle";
	pinctrl-0 = <&uart5_ux_pins_a>;
	pinctrl-1 = <&uart5_ux_sleep_pins_a>;
	pinctrl-2 = <&uart5_ux_idle_pins_a>;
	status = "okay";
};

&uart7 {
	/delete-property/dmas;
	/delete-property/dma-names;
	pinctrl-names = "default", "sleep", "idle";
	pinctrl-0 = <&uart7_ux_pins_a>;
	pinctrl-1 = <&uart7_ux_sleep_pins_a>;
	pinctrl-2 = <&uart7_ux_idle_pins_a>;
	status = "okay";
};

&usart1 {
	/*Muxing happens in uboot*/
	status = "okay";
};

&usbh_ehci {
	phys = <&usbphyc_port0>;
	phy-names = "usb";
	status = "okay";
};

&usbh_ohci {
	phys = <&usbphyc_port0>;
	phy-names = "usb";
	status = "okay";
};

&usbotg_hs {
	phys = <&usbphyc_port1 0>;
	phy-names = "usb2-phy";
	vbus-supply = <&usb_otg_vbus>;
	status = "okay";
};

&usbphyc {
	status = "okay";
};

&usbphyc_port0 {
	phy-supply = <&vdd_usb>;
	st,tune-hs-dc-level = <2>;
	st,enable-fs-rftime-tuning;
	st,enable-hs-rftime-reduction;
	st,trim-hs-current = <15>;
	st,trim-hs-impedance = <1>;
	st,tune-squelch-level = <3>;
	st,tune-hs-rx-offset = <2>;
	st,no-lsfs-sc;
};

&usbphyc_port1 {
	phy-supply = <&vdd_usb>;
	st,tune-hs-dc-level = <2>;
	st,enable-fs-rftime-tuning;
	st,enable-hs-rftime-reduction;
	st,trim-hs-current = <15>;
	st,trim-hs-impedance = <1>;
	st,tune-squelch-level = <3>;
	st,tune-hs-rx-offset = <2>;
	st,no-lsfs-sc;
};

&vrefbuf {
	regulator-min-microvolt = <2500000>;
	regulator-max-microvolt = <2500000>;
	vdda-supply = <&vdd>;
	status = "okay";
};
